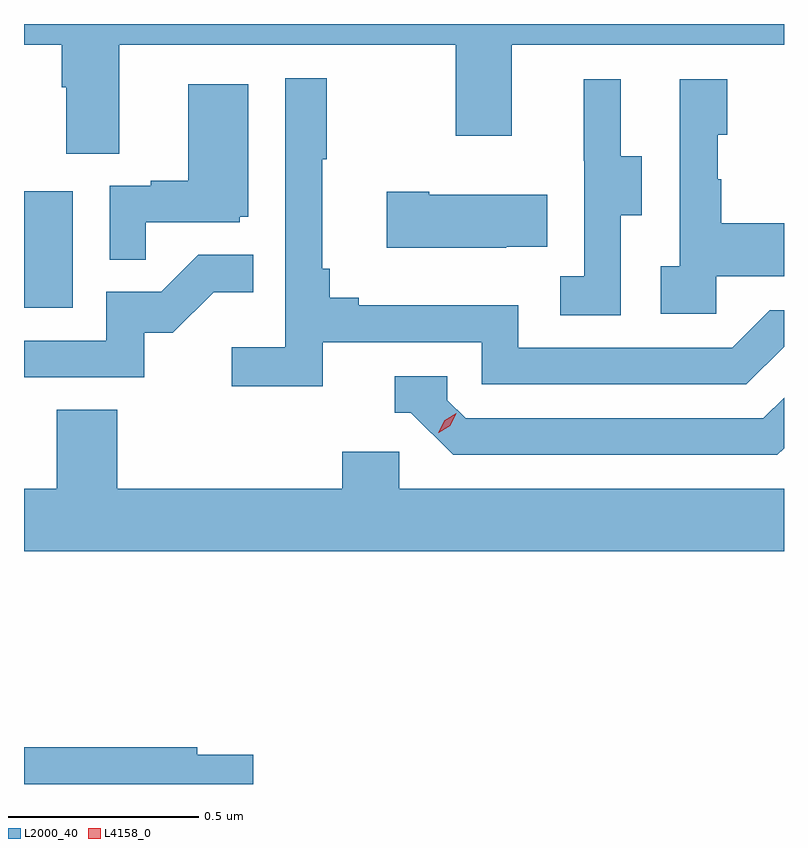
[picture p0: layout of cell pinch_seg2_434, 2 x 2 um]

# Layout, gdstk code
import gdstk
lib = gdstk.Library(unit=1e-6, precision=1e-09)
def R(c, l, rs):  # rectangles x0, y0, x1, y1
    for r in rs: c.add(gdstk.rectangle(r[:2], r[2:], *l))
def P(c, l, *ps):  # polygons
    for p in ps: c.add(gdstk.Polygon(p, *l))
L2000_40 = (2000, 40)
L4158_0 = (4158, 0)

pinch_seg2_434 = lib.new_cell('pinch_seg2_434')
R(pinch_seg2_434, L2000_40, [(923.93,605.652,924.058,605.959)])
P(pinch_seg2_434, L2000_40, [(923.93,606.344),(924.029,606.344),(924.029,606.232),(924.041,606.232),(924.041,606.058),(924.181,606.058),(924.181,606.344),(925.066,606.344),(925.066,606.105),(925.213,606.105),(925.213,606.344),(925.93,606.344),(925.93,606.399),(923.93,606.399)],
  [(924.716,605.562),(925.134,605.562),(925.134,605.451),(925.831,605.451),(925.93,605.55),(925.93,605.646),(925.893,605.646),(925.794,605.547),(925.23,605.547),(925.23,605.659),(924.811,605.659),(924.811,605.678),(924.734,605.678),(924.734,605.755),(924.715,605.755),(924.715,606.043),(924.727,606.043),(924.727,606.256),(924.618,606.256),(924.618,605.548),(924.477,605.548),(924.477,605.446),(924.716,605.446)],
  [(925.5,605.896),(925.555,605.896),(925.555,606.051),(925.501,606.051),(925.501,606.253),(925.403,606.253),(925.403,606.039),(925.404,606.039),(925.404,605.735),(925.341,605.735),(925.341,605.632),(925.5,605.632)],
  [(925.752,605.735),(925.93,605.735),(925.93,605.875),(925.765,605.875),(925.765,605.99),(925.755,605.99),(925.755,606.108),(925.78,606.108),(925.78,606.253),(925.656,606.253),(925.656,605.762),(925.605,605.762),(925.605,605.637),(925.752,605.637)],
  [(924.251,605.877),(924.498,605.877),(924.498,605.892),(924.52,605.892),(924.52,606.241),(924.362,606.241),(924.362,605.986),(924.263,605.986),(924.263,605.973),(924.156,605.973),(924.156,605.779),(924.251,605.779)],
  [(925.199,605.813),(925.307,605.813),(925.307,605.95),(924.997,605.95),(924.997,605.958),(924.885,605.958),(924.885,605.81),(925.199,605.81)],
  [(924.246,605.586),(924.322,605.586),(924.429,605.693),(924.533,605.693),(924.533,605.792),(924.389,605.792),(924.291,605.694),(924.147,605.694),(924.147,605.565),(923.93,605.565),(923.93,605.469),(924.246,605.469)],
  [(925.93,605.283),(925.93,605.416),(925.875,605.361),(925.092,605.361),(925.044,605.409),(925.044,605.472),(924.905,605.472),(924.905,605.376),(924.948,605.376),(925.059,605.265),(925.912,605.265)],
  [(925.93,605.176),(924.918,605.176),(924.918,605.274),(924.767,605.274),(924.767,605.176),(924.176,605.176),(924.176,605.384),(924.016,605.384),(924.016,605.176),(923.93,605.176),(923.93,605.012),(925.93,605.012)],
  [(924.533,604.476),(924.386,604.476),(924.386,604.496),(923.93,604.496),(923.93,604.399),(924.533,604.399)])
P(pinch_seg2_434, L4158_0, [(925.02,605.323),(925.02,605.323),(925.037,605.356),(925.068,605.375),(925.068,605.375),(925.068,605.375),(925.052,605.342),(925.021,605.323)])

lib.write_gds('pinch_seg2_434.gds')
